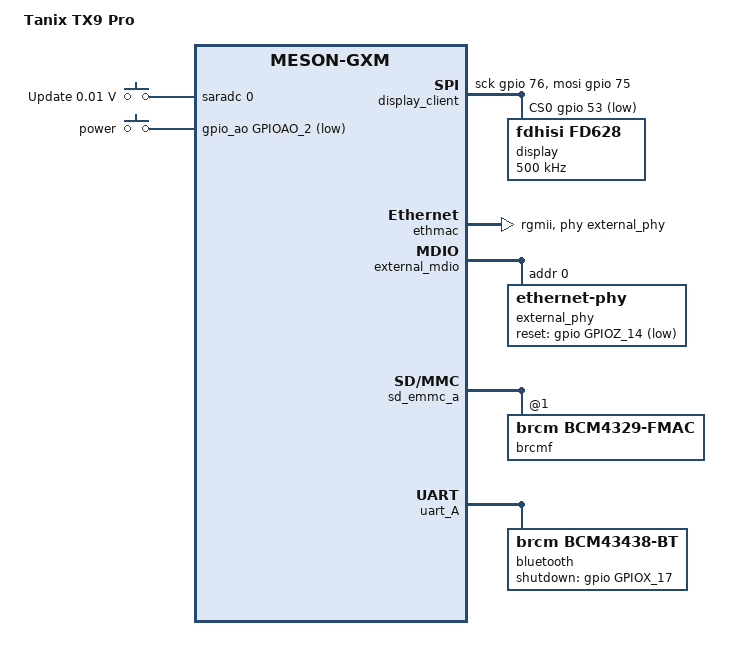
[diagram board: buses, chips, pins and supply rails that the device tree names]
// SPDX-License-Identifier: (GPL-2.0+ OR MIT)
/*
 * Copyright (c) 2016 Endless Computers, Inc.
 * Author: Carlo Caione <carlo@endlessm.com>
 */

/dts-v1/;

#include "meson-gxm.dtsi"
#include "meson-gx-p23x-q20x.dtsi"
#include <dt-bindings/input/input.h>
#include <dt-bindings/leds/common.h>

/ {
	compatible = "oranth,tx9-pro", "amlogic,s912", "amlogic,meson-gxm";
	model = "Tanix TX9 Pro";

	adc-keys {
		compatible = "adc-keys";
		io-channels = <&saradc 0>;
		io-channel-names = "buttons";
		keyup-threshold-microvolt = <1710000>;

		button-function {
			label = "Update";
			linux,code = <KEY_VENDOR>;
			press-threshold-microvolt = <10000>;
		};
	};

	gpio-keys-polled {
		compatible = "gpio-keys-polled";
		poll-interval = <100>;

		button {
			label = "power";
			linux,code = <KEY_POWER>;
			gpios = <&gpio_ao GPIOAO_2 GPIO_ACTIVE_LOW>;
		};
	};

	display_client: spi {
		compatible = "spi-gpio";
		sck-gpios = <&gpio 76 GPIO_ACTIVE_HIGH>;
		mosi-gpios = <&gpio 75 GPIO_ACTIVE_HIGH>;
		cs-gpios = <&gpio 53 GPIO_ACTIVE_LOW>;
		num-chipselects = <1>;

		#address-cells = <1>;
		#size-cells = <0>;

		display@0 {
			compatible = "fdhisi,fd628";
			reg = <0x0>;
			spi-3wire;
			spi-lsb-first;
			spi-rx-delay-us = <1>;
			spi-max-frequency = <500000>;

			titanmec,digits = [00 01 02 03];
			titanmec,segment-mapping = [03 01 02 06 04 05 00];

			#address-cells = <2>;
			#size-cells = <0>;

			led@4,0 {
				reg = <4 0>;
				function = LED_FUNCTION_ALARM;
			};

			led@4,1 {
				reg = <4 1>;
				function = LED_FUNCTION_USB;
			};

			led@4,2 {
				reg = <4 2>;
				function = "play";
			};

			led@4,3 {
				reg = <4 3>;
				function = "pause";
			};

			led@4,4 {
				reg = <4 4>;
				function = "colon";
			};

			led@4,5 {
				reg = <4 5>;
				function = LED_FUNCTION_LAN;
			};

			led@4,6 {
				reg = <4 6>;
				function = LED_FUNCTION_WLAN;
			};
		};
	};
};

&ethmac {
	pinctrl-0 = <&eth_pins>;
	pinctrl-names = "default";
	phy-handle = <&external_phy>;
	amlogic,tx-delay-ns = <2>;
	phy-mode = "rgmii";
};

&external_mdio {
	external_phy: ethernet-phy@0 {
		/* Realtek RTL8211F (0x001cc916) */
		reg = <0>;
		max-speed = <1000>;

		reset-assert-us = <10000>;
		reset-deassert-us = <80000>;
		reset-gpios = <&gpio GPIOZ_14 GPIO_ACTIVE_LOW>;

		interrupt-parent = <&gpio_intc>;
		/* MAC_INTR on GPIOZ_15 */
		interrupts = <25 IRQ_TYPE_LEVEL_LOW>;
	};
};

&ir {
	linux,rc-map-name = "rc-tanix-tx3mini";
};

&sd_emmc_a {
	brcmf: wifi@1 {
		reg = <1>;
		compatible = "brcm,bcm4329-fmac";
	};
};

&uart_A {
	status = "okay";
	pinctrl-0 = <&uart_a_pins>, <&uart_a_cts_rts_pins>;
	pinctrl-names = "default";
	uart-has-rtscts;

	bluetooth {
		compatible = "brcm,bcm43438-bt";
		shutdown-gpios = <&gpio GPIOX_17 GPIO_ACTIVE_HIGH>;
		max-speed = <2000000>;
		clocks = <&wifi32k>;
		clock-names = "lpo";
	};
};
